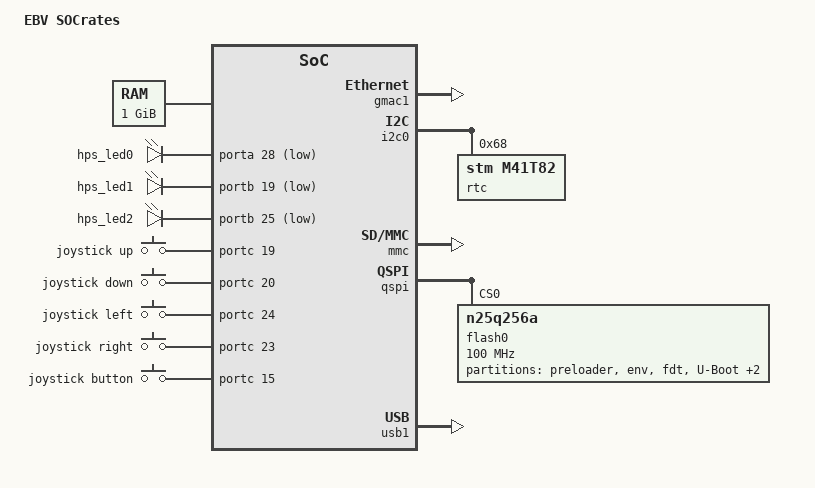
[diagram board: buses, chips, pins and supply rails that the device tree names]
/*
 *  Copyright (C) 2014 Steffen Trumtrar <s.trumtrar@pengutronix.de>
 *
 * This program is free software; you can redistribute it and/or modify
 * it under the terms of the GNU General Public License as published by
 * the Free Software Foundation; either version 2 of the License, or
 * (at your option) any later version.
 *
 * This program is distributed in the hope that it will be useful,
 * but WITHOUT ANY WARRANTY; without even the implied warranty of
 * MERCHANTABILITY or FITNESS FOR A PARTICULAR PURPOSE.  See the
 * GNU General Public License for more details.
 *
 * You should have received a copy of the GNU General Public License
 * along with this program.  If not, see <http://www.gnu.org/licenses/>.
 */

#include "socfpga_cyclone5.dtsi"

/ {
	model = "EBV SOCrates";
	compatible = "ebv,socrates", "altr,socfpga-cyclone5", "altr,socfpga";

	aliases {
		ethernet0 = &gmac1;
	};

	chosen {
		bootargs = "console=ttyS0,115200";
	};

	memory {
		name = "memory";
		device_type = "memory";
		reg = <0x0 0x40000000>; /* 1GB */
	};

	soc {
		uio-gpio@ff2000000 {
			compatible = "generic-uio";
			reg = <0xff200000 0x1000>;
		};

		framebuffer {
			compatible = "simple-framebuffer";
			reg = <0x3f000000 (800 * 480 * 4)>;
			width = <800>;
			height = <480>;
			stride = <(800 * 4)>;
			format = "a8r8g8b8";
			status = "disabled";
		};

	        leds {
			compatible = "gpio-leds";

			hps0 {
				label = "hps_led0";
				gpios = <&porta 28 1>;
			};

			hps1 {
				label = "hps_led1";
				gpios = <&portb 19 1>;
			};

			hps2 {
				label = "hps_led2";
				gpios = <&portb 25 1>;
			};
		};

		keys {
			compatible = "gpio-keys";
			#address-cells = <1>;
			#size-cells = <0>;
			poll-interval = <100>;

			up {
				label = "joystick up";
				linux,code = <0x67>;
				gpios = <&portc 19 0>;
			};

			down {
				label = "joystick down";
				linux,code = <0x6a>;
				gpios = <&portc 20 0>;
			};

			left {
				label = "joystick left";
				linux,code = <0x69>;
				gpios = <&portc 24 0>;
			};

			right {
				label = "joystick right";
				linux,code = <0x6c>;
				gpios = <&portc 23 0>;
			};

			button {
				label = "joystick button";
				linux,code = <0x1c>;
				gpios = <&portc 15 0>;
			};
		};
	};
};

&gpio0 {
       status = "okay";
};

&gpio1 {
       status = "okay";
};

&gpio2 {
       status = "okay";
};

&gmac1 {
	status = "okay";
};

&i2c0 {
	status = "okay";

	rtc: rtc@68 {
		compatible = "stm,m41t82";
		reg = <0x68>;
	};
};

&mmc {
	status = "okay";
};

&qspi {
	status = "okay";

	flash0: n25q256a@0 {
		#address-cells = <1>;
		#size-cells = <1>;
		compatible = "n25q256a";
		reg = <0>;      /* chip select */
		spi-max-frequency = <100000000>;
		m25p,fast-read;

		page-size = <256>;
		block-size = <16>;
		read-delay = <4>;
		tshsl-ns = <50>;
		tsd2d-ns = <50>;
		tchsh-ns = <4>;
		tslch-ns = <4>;

		partition@preloader {
			label = "preloader";
			reg = <0x0 0x40000>;
		};

		partition@env {
			label = "env";
			reg = <0x40000 0x10000>;
		};

		partition@fdt {
			label = "fdt";
			reg = <0x50000 0x10000>;
		};

		partition@uboot {
			label = "U-Boot";
			reg = <0x60000 0xa0000>;
		};

		partition@kernel {
			label = "kernel";
			reg = <0xa0000 0x600000>;
		};

		partition@user {
			label = "user";
			reg = <0x6a0000 0x1960000>;
		};
	};
};

&usb1 {
        status = "okay";
};
